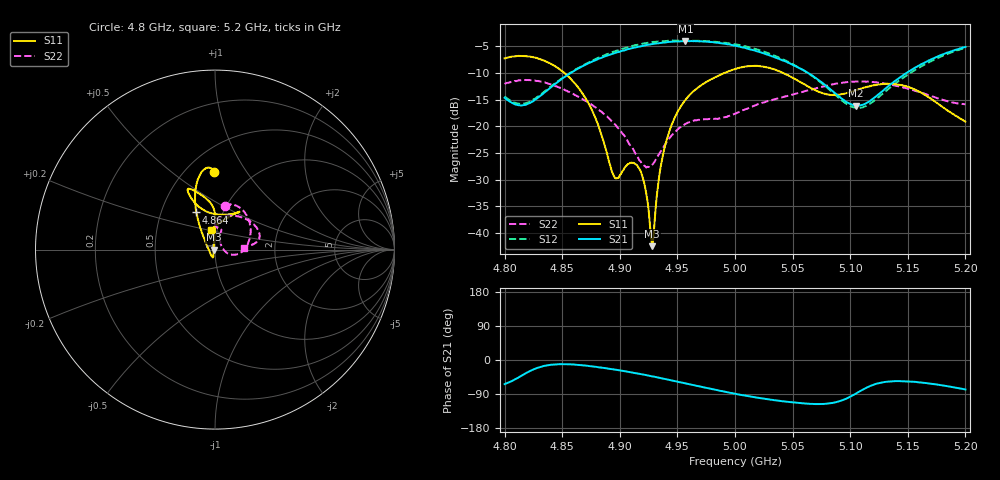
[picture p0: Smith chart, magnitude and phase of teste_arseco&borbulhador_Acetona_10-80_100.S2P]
! Network Analyzer HP8722D
! Hewlett-Packard
! Data name: Linha & Wilkinson
! Saver's name: Rodrigo Anjos
! Comments: Teste da utilização de aquisição
! continua pelo VNA HP8722D
! Time and date: 25/4/2025 16:06
!  Frequency  S11  S21  S12  S22
# HZ  S  MA R 50
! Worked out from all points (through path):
!   401 points, 4.8 GHz to 5.2 GHz, reference 50 ohm
!   highest |S21| = -3.98 dB at 4.957 GHz (marker M1); lowest = -16.1 dB at 5.105 GHz (marker M2)
!   lowest |S11| = -42.5 dB at 4.928 GHz (marker M3), VSWR 1.02, Z = 49.3 - j0.0939 ohm
!   |S11| at or under -10 dB: 4.852 GHz to 4.991 GHz (138.5 MHz wide, 2.81 % of centre); 5.042 GHz to end of sweep
!   |S22| runs from -27.7 to -11.3 dB; largest |S21 - S12| = 1.2
!   S11 on the Smith chart (normalised r, x): 4.8 GHz: 0.68, +0.73; 4.864 GHz: 0.75, +0.33; 5.2 GHz: 0.94, +0.21
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4.8e9  0.4345 90.6  0.1854 -63.7  0.1903 69.8  0.2505 76.9
4.82e9  0.453 96.9  0.1625 -32.3  0.1673 98.8  0.2724 61.4
4.843e9  0.3715 106.3  0.2456 -11.7  0.2501 118.9  0.2418 36.6
4.864e9  0.2312 116.6  0.3501 -13.0  0.3532 120.9  0.1896 11.9
4.867e9  0.2081 118.3  0.3647 -13.7  0.3688 120.6  0.1822 8.4
4.88e9  0.111 128.7  0.4232 -18.4  0.4337 118.3  0.1478 -5.5
4.895e9  0.03372 -173.8  0.4859 -24.9  0.5039 113.7  0.1068 -15.6
4.909e9  0.04538 -108.0  0.537 -32.1  0.5623 107.5  0.06639 -14.4
4.917e9  0.03972 -103.5  0.5616 -36.5  0.5908 103.5  0.04777 -1.3
4.922e9  0.02672 -107.7  0.5768 -39.3  0.6032 100.6  0.04213 16.4
4.928e9  0.007478 -172.7  0.5909 -43.2  0.6194 97.0  0.04341 41.4
4.93e9  0.01189 126.2  0.5959 -44.3  0.6205 95.7  0.04609 48.7
4.934e9  0.03259 99.8  0.6039 -46.7  0.6281 93.2  0.05499 58.3
4.943e9  0.08959 91.1  0.6191 -52.5  0.6377 87.4  0.07705 68.9
4.957e9  0.1773 89.5  0.6327 -61.6  0.6395 78.6  0.1054 71.4
5e9  0.3455 109.1  0.5728 -89.0  0.5925 50.6  0.1311 88.4
5.03e9  0.3536 115.1  0.464 -104.1  0.4804 33.7  0.174 85.4
5.067e9  0.2257 105.2  0.3003 -115.8  0.2971 23.6  0.2217 57.1
5.105e9  0.219 65.2  0.1562 -88.5  0.1488 54.6  0.2633 25.5
5.134e9  0.2505 57.1  0.2422 -56.6  0.2278 88.7  0.2476 12.3
5.168e9  0.188 69.2  0.4146 -61.8  0.3976 85.1  0.1959 6.9
5.2e9  0.1107 100.6  0.5559 -77.7  0.5458 70.1  0.1613 3.7
